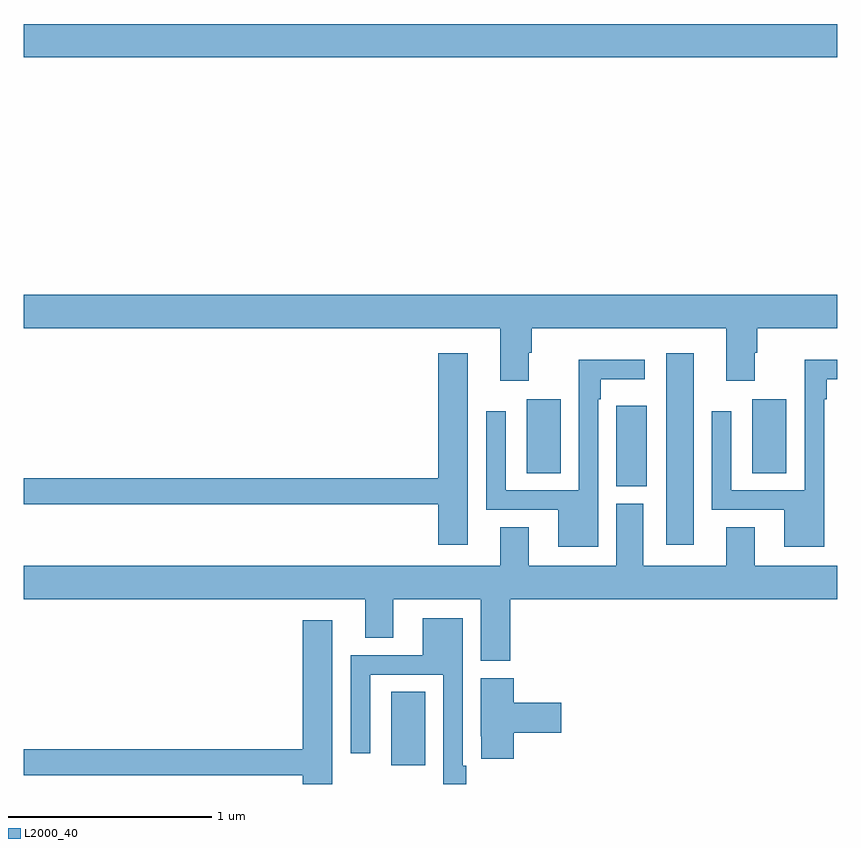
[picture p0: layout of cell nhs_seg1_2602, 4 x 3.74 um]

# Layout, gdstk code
import gdstk
lib = gdstk.Library(unit=1e-6, precision=1e-09)
def R(c, l, rs):  # rectangles x0, y0, x1, y1
    for r in rs: c.add(gdstk.rectangle(r[:2], r[2:], *l))
def P(c, l, *ps):  # polygons
    for p in ps: c.add(gdstk.Polygon(p, *l))
L2000_40 = (2000, 40)

nhs_seg1_2602 = lib.new_cell('nhs_seg1_2602')
R(nhs_seg1_2602, L2000_40, [(254.807,508.29,254.974,508.652), (256.16,509.376,256.294,510.316), (255.914,509.662,256.063,510.058), (255.473,509.728,255.64,510.091), (256.583,509.728,256.75,510.091), (253,511.772,257,511.936)])
P(nhs_seg1_2602, L2000_40, [(255.484,510.32),(255.497,510.32),(255.497,510.44),(256.454,510.44),(256.454,510.183),(256.594,510.183),(256.594,510.32),(256.607,510.32),(256.607,510.44),(257,510.44),(257,510.604),(253,510.604),(253,510.44),(255.344,510.44),(255.344,510.183),(255.484,510.183)],
  [(255.184,510.316),(255.038,510.316),(255.038,509.702),(253,509.702),(253,509.574),(255.038,509.574),(255.038,509.376),(255.184,509.376)],
  [(255.825,510.092),(255.838,510.092),(255.838,510.188),(256.054,510.188),(256.054,510.286),(255.729,510.286),(255.729,509.643),(255.369,509.643),(255.369,510.031),(255.273,510.031),(255.273,509.547),(255.629,509.547),(255.629,509.366),(255.825,509.366)],
  [(256.935,510.092),(256.948,510.092),(256.948,510.188),(257,510.188),(257,510.286),(256.839,510.286),(256.839,509.643),(256.479,509.643),(256.479,510.031),(256.383,510.031),(256.383,509.547),(256.739,509.547),(256.739,509.366),(256.935,509.366)],
  [(255.392,509.108),(257,509.108),(257,509.272),(256.594,509.272),(256.594,509.462),(256.454,509.462),(256.454,509.272),(256.045,509.272),(256.045,509.577),(255.914,509.577),(255.914,509.272),(255.484,509.272),(255.484,509.462),(255.344,509.462),(255.344,509.272),(253,509.272),(253,509.108),(254.678,509.108),(254.678,508.918),(254.818,508.918),(254.818,509.108),(255.248,509.108),(255.248,508.804),(255.392,508.804)],
  [(255.175,508.288),(255.159,508.288),(255.159,509.014),(254.963,509.014),(254.963,508.833),(254.607,508.833),(254.607,508.35),(254.703,508.35),(254.703,508.737),(255.063,508.737),(255.063,508.199),(255.175,508.199)],
  [(254.518,509.005),(254.372,509.005),(254.372,508.37),(253,508.37),(253,508.242),(254.372,508.242),(254.372,508.199),(254.518,508.199)],
  [(255.41,508.451),(255.643,508.451),(255.643,508.598),(255.41,508.598),(255.41,508.719),(255.248,508.719),(255.248,508.435),(255.249,508.435),(255.249,508.323),(255.41,508.323)])

lib.write_gds('nhs_seg1_2602.gds')
